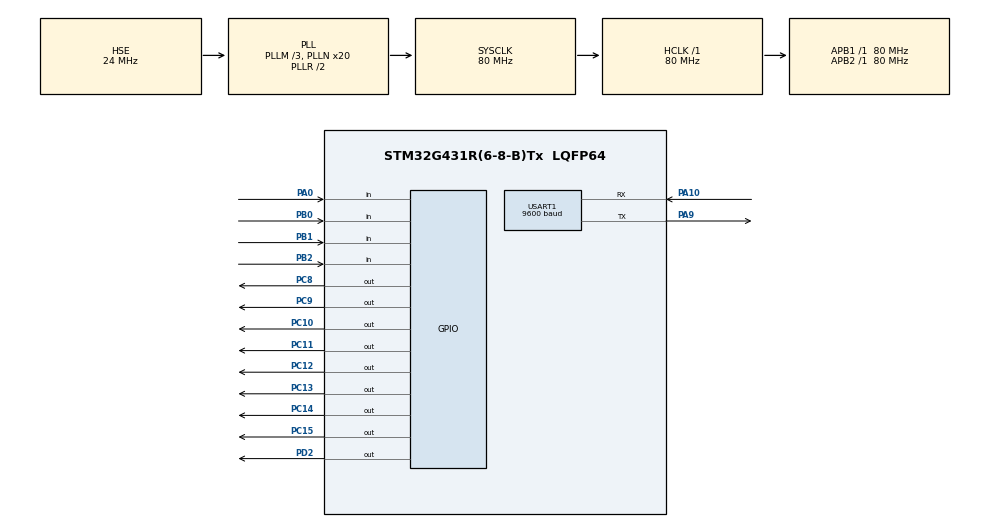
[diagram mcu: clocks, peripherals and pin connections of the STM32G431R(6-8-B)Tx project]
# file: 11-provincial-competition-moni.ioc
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Mcu.Family=STM32G4
Mcu.Name=STM32G431R(6-8-B)Tx
Mcu.Package=LQFP64
NVIC.PriorityGroup=NVIC_PRIORITYGROUP_4
NVIC.TIM2_IRQn=true\:0\:0\:false\:false\:true\:true\:true\:true
NVIC.TIM4_IRQn=true\:0\:0\:false\:false\:true\:true\:true\:true
PA0.GPIO_PuPd=GPIO_PULLUP
PA0.Signal=GPIO_Input
PA10.Mode=Asynchronous
PA10.Signal=USART1_RX
PA13.Mode=Serial_Wire
PA13.Signal=SYS_JTMS-SWDIO
PA14.Mode=Serial_Wire
PA14.Signal=SYS_JTCK-SWCLK
PA9.Mode=Asynchronous
PA9.Signal=USART1_TX
PB0.GPIO_PuPd=GPIO_PULLUP
PB0.Signal=GPIO_Input
PB1.GPIO_PuPd=GPIO_PULLUP
PB1.Signal=GPIO_Input
PB2.GPIO_PuPd=GPIO_PULLUP
PB2.Signal=GPIO_Input
PC10.PinState=GPIO_PIN_SET
PC10.Signal=GPIO_Output
PC11.PinState=GPIO_PIN_SET
PC11.Signal=GPIO_Output
PC12.PinState=GPIO_PIN_SET
PC12.Signal=GPIO_Output
PC13.PinState=GPIO_PIN_SET
PC13.Signal=GPIO_Output
PC14-OSC32_IN.PinState=GPIO_PIN_SET
PC14-OSC32_IN.Signal=GPIO_Output
PC15-OSC32_OUT.PinState=GPIO_PIN_SET
PC15-OSC32_OUT.Signal=GPIO_Output
PC8.PinState=GPIO_PIN_SET
PC8.Signal=GPIO_Output
PC9.PinState=GPIO_PIN_SET
PC9.Signal=GPIO_Output
PD2.Signal=GPIO_Output
PF0-OSC_IN.Mode=HSE-External-Oscillator
PF0-OSC_IN.Signal=RCC_OSC_IN
PF1-OSC_OUT.Mode=HSE-External-Oscillator
PF1-OSC_OUT.Signal=RCC_OSC_OUT
ProjectManager.HeapSize=0x200
ProjectManager.StackSize=0x400
ProjectManager.TargetToolchain=MDK-ARM V5.32
RCC.ADC12Freq_Value=80000000
RCC.AHBFreq_Value=80000000
RCC.APB1Freq_Value=80000000
RCC.APB1TimFreq_Value=80000000
RCC.APB2Freq_Value=80000000
RCC.APB2TimFreq_Value=80000000
RCC.CortexFreq_Value=80000000
RCC.EXTERNAL_CLOCK_VALUE=12288000
RCC.HCLKFreq_Value=80000000
RCC.HSE_VALUE=24000000
RCC.HSI48_VALUE=48000000
RCC.HSI_VALUE=16000000
RCC.LSE_VALUE=32768
RCC.PLLM=RCC_PLLM_DIV3
RCC.PLLN=20
RCC.PLLSourceVirtual=RCC_PLLSOURCE_HSE
RCC.SYSCLKFreq_VALUE=80000000
RCC.SYSCLKSource=RCC_SYSCLKSOURCE_PLLCLK
RCC.USBFreq_Value=80000000
RCC.VCOOutputFreq_Value=160000000
TIM2.PeriodNoDither=10000-1
TIM2.Prescaler=8000-1
TIM3.Prescaler=8000-1
TIM4.PeriodNoDither=10000-1
TIM4.Prescaler=8000-1
USART1.BaudRate=9600
USART1.VirtualMode-Asynchronous=VM_ASYNC
VP_SYS_VS_DBSignals.Mode=DisableDeadBatterySignals
VP_TIM2_VS_ClockSourceINT.Mode=Internal
VP_TIM3_VS_ClockSourceINT.Mode=Internal
VP_TIM4_VS_ClockSourceINT.Mode=Internal
board=custom

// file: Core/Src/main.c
/* USER CODE BEGIN Header */
/**
  ******************************************************************************
  * @file           : main.c
  * @brief          : Main program body
  ******************************************************************************
  * @attention
  *
  * Copyright (c) 2025 STMicroelectronics.
  * All rights reserved.
  *
  * This software is licensed under terms that can be found in the LICENSE file
  * in the root directory of this software component.
  * If no LICENSE file comes with this software, it is provided AS-IS.
  *
  ******************************************************************************
  */
/* USER CODE END Header */
#include "main.h"
#include "tim.h"
#include "usart.h"
#include "gpio.h"

/* USER CODE BEGIN Includes */
#include "stdio.h"
#include "stdint.h"
#include "string.h"
#include "lcd.h"
#include "i2c_hal.h"
/* USER CODE END Includes */

/* USER CODE BEGIN PV */
char text[20], rec_buff[50], send_buff[50];
uint8_t rec_data;
uint8_t hours=11, minutes=59, seconds=50;
uint8_t alarm_h=12, alarm_m=0, alarm_s=0;
uint8_t page, num[3], led_mode;  // 页码
uint8_t key_val, key_up, key_down, key_last_val;  // 按键
uint8_t select_1, select_2;  // 高亮
uint8_t modify, rtc_cnt, alarm_cnt, rtc_flag, alarm_flag;
/* USER CODE END PV */

void SystemClock_Config(void);
/* USER CODE BEGIN PFP */
void LCD_Proc(void);
void KEY_Proc(void);
void LED_Proc(void);
void USART_Proc(void);
/* USER CODE END PFP */

int main(void)
{

  /* MCU Configuration--------------------------------------------------------*/

  /* Reset of all peripherals, Initializes the Flash interface and the Systick. */
  HAL_Init();

  /* Configure the system clock */
  SystemClock_Config();

  /* Initialize all configured peripherals */
  MX_GPIO_Init();
  MX_TIM2_Init();
  MX_TIM3_Init();
  MX_TIM4_Init();
  MX_USART1_UART_Init();
  /* USER CODE BEGIN 2 */
    // LCD
    LCD_Init();
    LCD_Clear(Black);
    LCD_SetBackColor(Black);
    LCD_SetTextColor(White);
    // TIM2--计时, TIM3--按键长短按, TIM4--LED闪烁
    __HAL_TIM_CLEAR_FLAG(&htim2,TIM_FLAG_UPDATE);
    HAL_TIM_Base_Start_IT(&htim2);
    HAL_TIM_Base_Start(&htim3);
    // RTC
    I2CInit();
  /* USER CODE END 2 */

  /* Infinite loop */
  /* USER CODE BEGIN WHILE */
  while (1)
  {
      LCD_Proc();
      KEY_Proc();
      USART_Proc();
      if(page==0){
          __HAL_TIM_CLEAR_FLAG(&htim4,TIM_FLAG_UPDATE);
          HAL_TIM_Base_Start_IT(&htim4);
      }else{
          HAL_TIM_Base_Stop_IT(&htim4);
          TIM4->CNT=0;
          led_mode=0;
      }
      LED_Proc();
    /* USER CODE END WHILE */

  }
}

void SystemClock_Config(void)
{
  RCC_OscInitTypeDef RCC_OscInitStruct = {0};
  RCC_ClkInitTypeDef RCC_ClkInitStruct = {0};

  /** Configure the main internal regulator output voltage
  */
  HAL_PWREx_ControlVoltageScaling(PWR_REGULATOR_VOLTAGE_SCALE1);

  /** Initializes the RCC Oscillators according to the specified parameters
  * in the RCC_OscInitTypeDef structure.
  */
  RCC_OscInitStruct.OscillatorType = RCC_OSCILLATORTYPE_HSE;
  RCC_OscInitStruct.HSEState = RCC_HSE_ON;
  RCC_OscInitStruct.PLL.PLLState = RCC_PLL_ON;
  RCC_OscInitStruct.PLL.PLLSource = RCC_PLLSOURCE_HSE;
  RCC_OscInitStruct.PLL.PLLM = RCC_PLLM_DIV3;
  RCC_OscInitStruct.PLL.PLLN = 20;
  RCC_OscInitStruct.PLL.PLLP = RCC_PLLP_DIV2;
  RCC_OscInitStruct.PLL.PLLQ = RCC_PLLQ_DIV2;
  RCC_OscInitStruct.PLL.PLLR = RCC_PLLR_DIV2;
  if (HAL_RCC_OscConfig(&RCC_OscInitStruct) != HAL_OK)
  {
    Error_Handler();
  }

  /** Initializes the CPU, AHB and APB buses clocks
  */
  RCC_ClkInitStruct.ClockType = RCC_CLOCKTYPE_HCLK|RCC_CLOCKTYPE_SYSCLK
                              |RCC_CLOCKTYPE_PCLK1|RCC_CLOCKTYPE_PCLK2;
  RCC_ClkInitStruct.SYSCLKSource = RCC_SYSCLKSOURCE_PLLCLK;
  RCC_ClkInitStruct.AHBCLKDivider = RCC_SYSCLK_DIV1;
  RCC_ClkInitStruct.APB1CLKDivider = RCC_HCLK_DIV1;
  RCC_ClkInitStruct.APB2CLKDivider = RCC_HCLK_DIV1;

  if (HAL_RCC_ClockConfig(&RCC_ClkInitStruct, FLASH_LATENCY_2) != HAL_OK)
  {
    Error_Handler();
  }
}

/* USER CODE BEGIN 4 */
void LCD_Proc(void){
    EEPROM_Read(3, num);
    rtc_cnt=num[0];
    alarm_cnt=num[1];
    if(page==0){
        sprintf(text, "        MAIN        ");
        LCD_DisplayStringLine(Line1, (uint8_t*)text);
        LCD_DisplayChar(Line4,  (320 - (16 * 4)), 'R');
        LCD_DisplayChar(Line4,  (320 - (16 * 5)), 'T');
        LCD_DisplayChar(Line4,  (320 - (16 * 6)), 'C');
        LCD_DisplayChar(Line4,  (320 - (16 * 8)), hours/10+0x30);
        LCD_DisplayChar(Line4,  (320 - (16 * 9)), hours%10+0x30);
        LCD_DisplayChar(Line4,  (320 - (16 * 11)), minutes/10+0x30);
        LCD_DisplayChar(Line4,  (320 - (16 * 12)), minutes%10+0x30);
        LCD_DisplayChar(Line4,  (320 - (16 * 14)), seconds/10+0x30);
        LCD_DisplayChar(Line4,  (320 - (16 * 15)), seconds%10+0x30);
        LCD_DisplayChar(Line4 , (320 - (16 * 7)) , ':');
        LCD_DisplayChar(Line4 , (320 - (16 * 10)) , ':');
        LCD_DisplayChar(Line4 , (320 - (16 * 13)) , ':');
    }
    if(page==1){
        sprintf(text, "     RTC-SETTING    ");
        LCD_DisplayStringLine(Line1, (uint8_t*)text);
        LCD_DisplayChar(Line4,  (320 - (16 * 4)), 'R');
        LCD_DisplayChar(Line4,  (320 - (16 * 5)), 'T');
        LCD_DisplayChar(Line4,  (320 - (16 * 6)), 'C');
        if(select_1==0){
            LCD_SetTextColor(Red);
        }else{
            LCD_SetTextColor(White);
        }
        LCD_DisplayChar(Line4,  (320 - (16 * 8)), hours/10+0x30);
        LCD_DisplayChar(Line4,  (320 - (16 * 9)), hours%10+0x30);
        if(select_1==1){
            LCD_SetTextColor(Red);
        }else{
            LCD_SetTextColor(White);
        }
        LCD_DisplayChar(Line4,  (320 - (16 * 11)), minutes/10+0x30);
        LCD_DisplayChar(Line4,  (320 - (16 * 12)), minutes%10+0x30);
        if(select_1==2){
            LCD_SetTextColor(Red);
        }else{
            LCD_SetTextColor(White);
        }
        LCD_DisplayChar(Line4,  (320 - (16 * 14)), seconds/10+0x30);
        LCD_DisplayChar(Line4,  (320 - (16 * 15)), seconds%10+0x30);
        LCD_SetTextColor(White);
        LCD_DisplayChar(Line4 , (320 - (16 * 7)) , ':');
        LCD_DisplayChar(Line4 , (320 - (16 * 10)) , ':');
        LCD_DisplayChar(Line4 , (320 - (16 * 13)) , ':');
    }
    if(page==2){
        if(alarm_cnt){
            EEPROM_Read(0, num);
            alarm_h=num[0];
            alarm_m=num[1];
            alarm_s=num[2];
        }
        sprintf(text, "    ALARM-SETTING   ");
        LCD_DisplayStringLine(Line1, (uint8_t*)text);
        LCD_DisplayChar(Line4,  (320 - (16 * 2)), 'A');
        LCD_DisplayChar(Line4,  (320 - (16 * 3)), 'l');
        LCD_DisplayChar(Line4,  (320 - (16 * 4)), 'a');
        LCD_DisplayChar(Line4,  (320 - (16 * 5)), 'r');
        LCD_DisplayChar(Line4,  (320 - (16 * 6)), 'm');
        if(select_2==0){
            LCD_SetTextColor(Red);
        }else{
            LCD_SetTextColor(White);
        }
        LCD_DisplayChar(Line4,  (320 - (16 * 8)), alarm_h/10+0x30);
        LCD_DisplayChar(Line4,  (320 - (16 * 9)), alarm_h%10+0x30);
        if(select_2==1){
            LCD_SetTextColor(Red);
        }else{
            LCD_SetTextColor(White);
        }
        LCD_DisplayChar(Line4,  (320 - (16 * 11)), alarm_m/10+0x30);
        LCD_DisplayChar(Line4,  (320 - (16 * 12)), alarm_m%10+0x30);
        if(select_2==2){
            LCD_SetTextColor(Red);
        }else{
            LCD_SetTextColor(White);
        }
        LCD_DisplayChar(Line4,  (320 - (16 * 14)), alarm_s/10+0x30);
        LCD_DisplayChar(Line4,  (320 - (16 * 15)), alarm_s%10+0x30);
        LCD_SetTextColor(White);
        LCD_DisplayChar(Line4 , (320 - (16 * 7)) , ':');
        LCD_DisplayChar(Line4 , (320 - (16 * 10)) , ':');
        LCD_DisplayChar(Line4 , (320 - (16 * 13)) , ':');
    }
    sprintf(text, "      %02d-%02d-%05d", rtc_cnt, alarm_cnt, TIM3->CNT);
    LCD_DisplayStringLine(Line9, (uint8_t*)text);
}
void LED_Show(uint8_t led, uint8_t led_mode){
    if(led_mode){
        HAL_GPIO_WritePin(GPIOC, led<<8, GPIO_PIN_RESET);
        HAL_GPIO_WritePin(GPIOD, GPIO_PIN_2, GPIO_PIN_SET);
        HAL_GPIO_WritePin(GPIOD, GPIO_PIN_2, GPIO_PIN_RESET);
    }else{
        HAL_GPIO_WritePin(GPIOC, led<<8, GPIO_PIN_SET);
        HAL_GPIO_WritePin(GPIOD, GPIO_PIN_2, GPIO_PIN_SET);
        HAL_GPIO_WritePin(GPIOD, GPIO_PIN_2, GPIO_PIN_RESET);
    }
}
void LED_Proc(void){
    if(page==0){
        LED_Show(0x01, led_mode);
    }else{
        LED_Show(0x01, led_mode);
    }
    if(page==1){
        LED_Show(0x02, 1);
    }else{
        LED_Show(0x02, 0);
    }
    if(page==2){
        LED_Show(0x04, 1);
    }else{
        LED_Show(0x04, 0);
    }
}
uint8_t KEY_Scan(void){
    uint8_t key_value=0;
    if(HAL_GPIO_ReadPin(GPIOB, GPIO_PIN_0)==GPIO_PIN_RESET){
        key_value=1;
    }
    if(HAL_GPIO_ReadPin(GPIOB, GPIO_PIN_1)==GPIO_PIN_RESET){
        key_value=2;
    }
    if(HAL_GPIO_ReadPin(GPIOB, GPIO_PIN_2)==GPIO_PIN_RESET){
        key_value=3;
    }
    if(HAL_GPIO_ReadPin(GPIOA, GPIO_PIN_0)==GPIO_PIN_RESET){
        key_value=4;
    }
    return key_value;
}
void KEY_Proc(void){
    key_val=KEY_Scan();
    key_down=key_val&(key_val^key_last_val);
    key_up=~key_val&(key_val^key_last_val);
    key_last_val=key_val;
    if(key_down==1 && page!=2){
        page++;
        page%=2;
        if(page==1){
            HAL_TIM_Base_Stop_IT(&htim2);
            // TIM2->CNT=0;
        }
        if(page==0){
            __HAL_TIM_CLEAR_FLAG(&htim2, TIM_FLAG_UPDATE);
            HAL_TIM_Base_Start_IT(&htim2);
        }
        if(rtc_flag){
            rtc_cnt++;
            EEPROM_Write(3, rtc_cnt);
            rtc_flag=0;
        }
        LCD_Clear(Black);
    }
    if(key_down==1 && page==2){
        select_2++;
        select_2%=3;
    }
    if(key_down==2 && page!=1){
        page=(page==0)? 2:0;
        if(alarm_flag){
            alarm_cnt++;
            EEPROM_Write(4, alarm_cnt);
            alarm_flag=0;
        }
        LCD_Clear(Black);
    }
    if(key_down==2 && page==1){
        select_1++;
        select_1%=3;
    }
    if(key_down==3 || key_down==4){
        TIM3->CNT=0;
    }
    if(TIM3->CNT<10000){
        if(key_up==3){
            if(page==1){
                if(select_1==0){
                    hours++;
                    hours%=24;
                }
                if(select_1==1){
                    minutes++;
                    minutes%=60;
                }
                if(select_1==2){
                    seconds++;
                    seconds%=60;
                }
                rtc_flag=1;
            }
            if(page==2){
                if(select_2==0){
                    alarm_h++;
                    alarm_h%=24;
                }
                if(select_2==1){
                    alarm_m++;
                    alarm_m%=60;
                }
                if(select_2==2){
                    alarm_s++;
                    alarm_s%=60;
                }
                modify=1;
                alarm_flag=1;
            }
        }
        if(key_up==4){
            if(page==1){
                if(select_1==0){
                    hours--;
                    if(hours==255) hours=23;
                }
                if(select_1==1){
                    minutes--;
                    if(minutes==255) minutes=59;
                }
                if(select_1==2){
                    seconds--;
                    if(seconds==255) seconds=59;
                }
                rtc_flag=1;
            }
            if(page==2){
                if(select_2==0){
                    alarm_h--;
                    if(alarm_h==255) alarm_h=59;
                }
                if(select_2==1){
                    alarm_m--;
                    if(alarm_m==255) alarm_m=59;
                }
                if(select_2==2){
                    alarm_s--;
                    if(alarm_s==255) alarm_s=59;
                }
                modify=1;
                alarm_flag=1;
            }
        }
    }else{
        if(key_val==3){
            if(page==1){
                if(select_1==0){
                    hours++;
                    hours%=24;
                }
                if(select_1==1){
                    minutes++;
                    minutes%=60;
                }
                if(select_1==2){
                    seconds++;
                    seconds%=60;
                }
                rtc_flag=1;
            }
            if(page==2){
                if(select_2==0){
                    alarm_h++;
                    alarm_h%=24;
                }
                if(select_2==1){
                    alarm_m++;
                    alarm_m%=60;
                }
                if(select_2==2){
                    alarm_s++;
                    alarm_s%=60;
                }
                modify=1;
                alarm_flag=1;
            }
        }
        if(key_val==4){
            if(page==1){
                if(select_1==0){
                    hours--;
                    if(hours==255) hours=23;
                }
                if(select_1==1){
                    minutes--;
                    if(minutes==255) minutes=59;
                }
                if(select_1==2){
                    seconds--;
                    if(seconds==255) seconds=59;
                }
                rtc_flag=1;
            }
            if(page==2){
                if(select_2==0){
                    alarm_h--;
                    if(alarm_h==255) alarm_h=59;
                }
                if(select_2==1){
                    alarm_m--;
                    if(alarm_m==255) alarm_m=59;
                }
                if(select_2==2){
                    alarm_s--;
                    if(alarm_s==255) alarm_s=59;
                }
                modify=1;
                alarm_flag=1;
            }
        }
    }
    if(modify){
        EEPROM_Write(0, alarm_h);
        EEPROM_Write(1, alarm_m);
        EEPROM_Write(2, alarm_s);
        modify=0;
    }
}
void USART_Proc(){
    if(rtc_flag){
        sprintf(send_buff, "New RTC: %02d:%02d:%02d\r\n", hours, minutes, seconds);
        HAL_UART_Transmit(&huart1, (uint8_t*)send_buff, sizeof(send_buff), 50);
    }
    memset(send_buff, 0, 50);
    if(alarm_flag){
        sprintf(send_buff, "New Alarm: %02d:%02d:%02d\r\n", alarm_h, alarm_m, alarm_s);
        HAL_UART_Transmit(&huart1, (uint8_t*)send_buff, sizeof(send_buff), 50);
    }
}
void HAL_TIM_PeriodElapsedCallback(TIM_HandleTypeDef *htim){
    if(htim->Instance==TIM2){
        seconds++;
        if(seconds>=60){
            seconds=0;
            minutes++;
        }
        if(minutes>=60){
            minutes=0;
            hours++;
        }
        if(hours>=24){
            hours=0;
        }
    }
    if(htim->Instance==TIM4){
        led_mode^=1;
    }
}
/* USER CODE END 4 */

void Error_Handler(void)
{
  __disable_irq();
  while (1)
  {
  }
}
